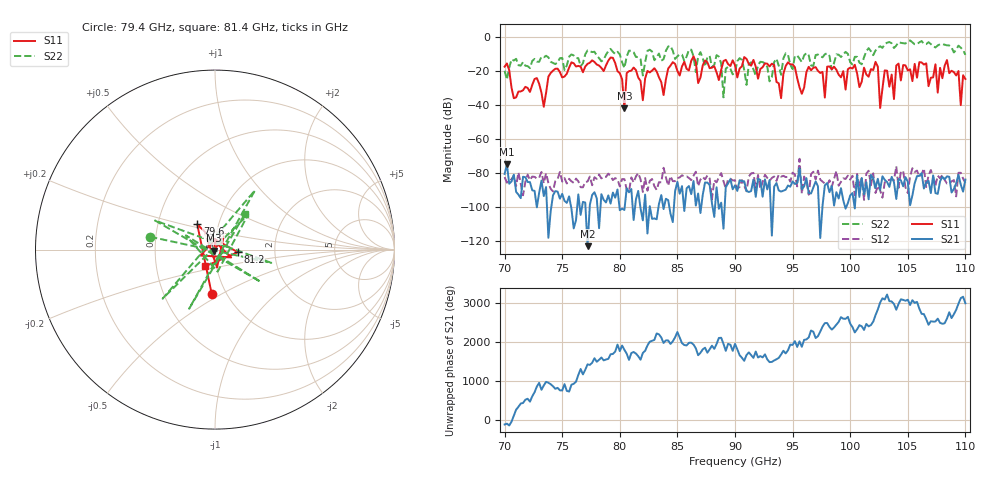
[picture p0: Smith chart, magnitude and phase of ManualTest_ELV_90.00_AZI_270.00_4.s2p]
! 11/25/2026 12:34:41 PM
! C:\ANRITSUVNA\TEMP\TEMP.S2P
! CHANNEL.1
! TR.MEASUREMENT
! RAW.DATA
# HZ S RI R 50.0
! FREQ.HZ  S11RE  S11IM  S21RE  S21IM  S12RE  S12IM  S22RE  S22IM
!; PortSelection: Port_12
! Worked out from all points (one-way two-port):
!   201 points, 70 GHz to 110 GHz, reference 50 ohm
!   highest |S21| = -74.78 dB at 70.2 GHz (marker M1); lowest = -122.8 dB at 77.2 GHz (marker M2)
!   lowest |S11| = -41.8 dB at 80.4 GHz (marker M3), VSWR 1.02, Z = 49.4 - j0.56 ohm
!   |S11| at or under -10 dB: start of sweep to end of sweep
!   |S22| runs from -35.4 to -2.0 dB; largest |S21 - S12| = 0.00031
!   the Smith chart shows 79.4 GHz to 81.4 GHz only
!   S11 on the Smith chart (normalised r, x): 79.4 GHz: 0.86, -0.45; 79.6 GHz: 0.79, +0.23; 81.2 GHz: 1.29, -0.04; 81.4 GHz: 0.88, -0.17
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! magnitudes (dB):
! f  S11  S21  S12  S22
! 70 GHz  -17.4  -80.3  -82.2  -19.8
! 70.2 GHz  -15.5  -74.8  -85.5  -24.9
! 73.4 GHz  -40.9  -93.3  -85.8  -11.9
! 74.2 GHz  -19.7  -92.9  -90.6  -15.2
! 76.8 GHz  -20.6  -96.8  -88.2  -15.3
! 77.2 GHz  -15.7  -122.8  -84.8  -7.9
! 79.4 GHz  -12.2  -91.3  -84.0  -8.7
! 79.6 GHz  -15.3  -94.3  -82.8  -9.8
! 80.4 GHz  -41.8  -101.5  -83.4  -18.2
! 81.2 GHz  -17.9  -107.4  -85.4  -8.9
! 81.4 GHz  -19.4  -95.3  -81.8  -11.6
! 82 GHz  -37.1  -107.6  -90.9  -22.5
! 83.4 GHz  -23.7  -97.9  -85.2  -9.7
! 89 GHz  -14.1  -112.5  -84.6  -35.4
! 90 GHz  -16.5  -87.1  -84.1  -20.8
! 93.4 GHz  -16.4  -87.8  -81.9  -14.7
! 94 GHz  -35.8  -90.7  -81.9  -22.1
! 94.6 GHz  -14.8  -87.1  -82.1  -10.3
! 95.8 GHz  -33.3  -89.4  -92.0  -14.6
! 96.8 GHz  -18.0  -88.3  -79.1  -16.9
! 103.4 GHz  -29.1  -88.0  -83.8  -2.9
! 110 GHz  -24.6  -83.6  -85.7  -10.4
